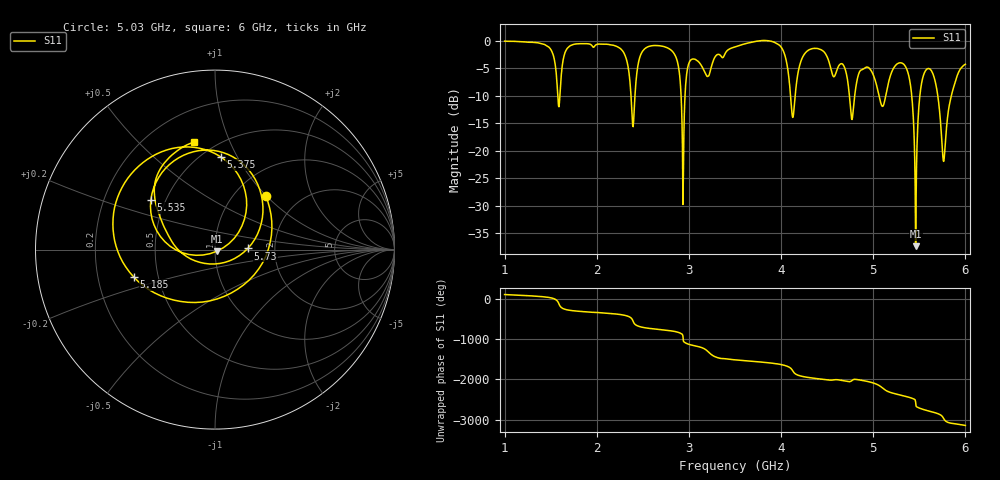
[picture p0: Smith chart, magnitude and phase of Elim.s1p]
!Agilent Technologies,E8364B,MY43040633,A.07.50.37
!Agilent E8364B: A.07.50.37
!Date: Tuesday, December 16, 2025 17:08:31
!Correction: S11(Full 1 Port(1))
!S1P File: Measurement: S11:
# Hz S  RI  R 50
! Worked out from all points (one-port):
!   1001 points, 1 GHz to 6 GHz, reference 50 ohm
!   lowest |S11| = -37.3 dB at 5.46 GHz (marker M1), VSWR 1.03, Z = 51 - j0.939 ohm
!   |S11| at or under -10 dB: 5.063 GHz to 5.136 GHz (72.62 MHz wide, 1.42 % of centre); 5.418 GHz to 5.506 GHz (88.03 MHz wide, 1.61 % of centre); 5.7 GHz to 5.847 GHz (147.1 MHz wide, 2.55 % of centre)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
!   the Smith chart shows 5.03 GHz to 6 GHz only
!   S11 on the Smith chart (normalised r, x): 5.03 GHz: 1.37, +0.99; 5.185 GHz: 0.36, -0.14; 5.375 GHz: 0.61, +0.86; 5.535 GHz: 0.41, +0.29; 5.73 GHz: 1.45, +0.02; 6 GHz: 0.39, +0.75
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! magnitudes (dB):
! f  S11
! 1 GHz  -0.1
! 1.48 GHz  -1.2
! 1.585 GHz  -11.8
! 1.625 GHz  -4.6
! 2.25 GHz  -1.4
! 2.39 GHz  -15.4
! 2.515 GHz  -1.6
! 2.875 GHz  -3.8
! 2.935 GHz  -29.7
! 3.015 GHz  -3.6
! 3.5 GHz  -1.1
! 3.985 GHz  -0.9
! 4.125 GHz  -13.9
! 4.36 GHz  -1.4
! 4.675 GHz  -4.4
! 4.75 GHz  -11.6
! 4.875 GHz  -5.3
! 5.03 GHz  -7.7
! 5.105 GHz  -11.9
! 5.185 GHz  -6.4
! 5.375 GHz  -5.7
! 5.46 GHz  -37.3
! 5.535 GHz  -6.9
! 5.645 GHz  -5.9
! 5.73 GHz  -14.7
! 5.77 GHz  -21.3
! 5.86 GHz  -9.2
! 6 GHz  -4.3
